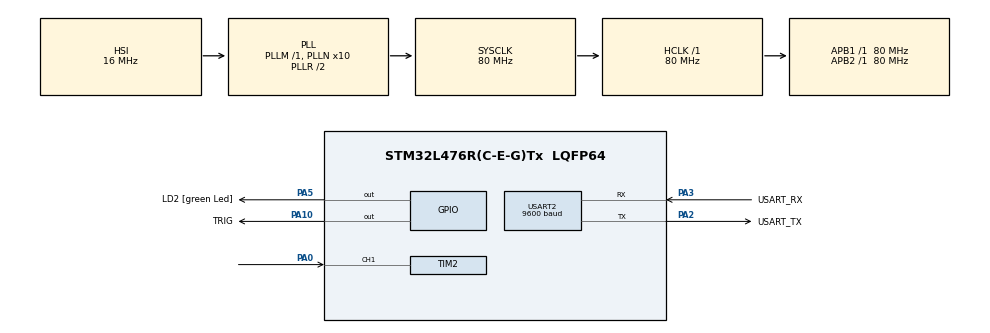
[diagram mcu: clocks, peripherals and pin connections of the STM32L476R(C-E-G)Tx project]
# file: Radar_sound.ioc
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Mcu.Family=STM32L4
Mcu.Name=STM32L476R(C-E-G)Tx
Mcu.Package=LQFP64
NVIC.PriorityGroup=NVIC_PRIORITYGROUP_4
NVIC.TIM2_IRQn=true\:0\:0\:false\:false\:true\:true\:true\:true
NVIC.USART2_IRQn=true\:0\:0\:false\:false\:true\:true\:true\:true
PA0.Signal=S_TIM2_CH1
PA10.GPIO_Label=TRIG
PA10.Signal=GPIO_Output
PA13\ (JTMS-SWDIO).GPIO_Label=TMS
PA13\ (JTMS-SWDIO).Signal=SYS_JTMS-SWDIO
PA14\ (JTCK-SWCLK).GPIO_Label=TCK
PA14\ (JTCK-SWCLK).Signal=SYS_JTCK-SWCLK
PA2.GPIO_Label=USART_TX
PA2.GPIO_Mode=GPIO_MODE_AF_PP
PA2.GPIO_PuPd=GPIO_NOPULL
PA2.GPIO_Speed=GPIO_SPEED_FREQ_VERY_HIGH
PA2.Mode=Asynchronous
PA2.Signal=USART2_TX
PA3.GPIO_Label=USART_RX
PA3.GPIO_Mode=GPIO_MODE_AF_PP
PA3.GPIO_PuPd=GPIO_NOPULL
PA3.GPIO_Speed=GPIO_SPEED_FREQ_VERY_HIGH
PA3.Mode=Asynchronous
PA3.Signal=USART2_RX
PA5.GPIO_Label=LD2 [green Led]
PA5.GPIO_ModeDefaultOutputPP=GPIO_MODE_OUTPUT_PP
PA5.GPIO_PuPd=GPIO_NOPULL
PA5.GPIO_Speed=GPIO_SPEED_FREQ_LOW
PA5.Signal=GPIO_Output
PA6.Signal=S_TIM3_CH1
PB3\ (JTDO-TRACESWO).GPIO_Label=SWO
PB3\ (JTDO-TRACESWO).Signal=SYS_JTDO-SWO
PC14-OSC32_IN\ (PC14).Signal=RCC_OSC32_IN
PC15-OSC32_OUT\ (PC15).Signal=RCC_OSC32_OUT
PH0-OSC_IN\ (PH0).Signal=RCC_OSC_IN
PH1-OSC_OUT\ (PH1).Signal=RCC_OSC_OUT
ProjectManager.HeapSize=0x200
ProjectManager.StackSize=0x400
ProjectManager.TargetToolchain=STM32CubeIDE
RCC.ADCFreq_Value=64000000
RCC.AHBFreq_Value=80000000
RCC.APB1Freq_Value=80000000
RCC.APB1TimFreq_Value=80000000
RCC.APB2Freq_Value=80000000
RCC.APB2TimFreq_Value=80000000
RCC.CortexFreq_Value=80000000
RCC.HCLKFreq_Value=80000000
RCC.HSE_VALUE=8000000
RCC.HSI_VALUE=16000000
RCC.LSE_VALUE=32768
RCC.MSI_VALUE=4000000
RCC.PLLN=10
RCC.PLLSourceVirtual=RCC_PLLSOURCE_HSI
RCC.PREFETCH_ENABLE=1
RCC.SYSCLKFreq_VALUE=80000000
RCC.SYSCLKSource=RCC_SYSCLKSOURCE_PLLCLK
RCC.USBFreq_Value=64000000
RCC.VCOOutputFreq_Value=160000000
SH.S_TIM2_CH1.0=TIM2_CH1,Input_Capture1_from_TI1
SH.S_TIM3_CH1.0=TIM3_CH1
TIM2.Channel-Input_Capture1_from_TI1=TIM_CHANNEL_1
TIM2.Prescaler=79
TIM3.Channel-PWM\ Generation1\ No\ Output=TIM_CHANNEL_1
TIM3.Period=999
TIM3.Prescaler=1599
USART2.BaudRate=9600
USART2.VirtualMode-Asynchronous=VM_ASYNC
VP_TIM3_VS_no_output1.Mode=PWM Generation1 No Output
board=NUCLEO-L476RG

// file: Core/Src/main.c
/* USER CODE BEGIN Header */
/**
  ******************************************************************************
  * @file           : main.c
  * @brief          : Main program body
  ******************************************************************************
  * @attention
  *
  * Copyright (c) 2026 STMicroelectronics.
  * All rights reserved.
  *
  * This software is licensed under terms that can be found in the LICENSE file
  * in the root directory of this software component.
  * If no LICENSE file comes with this software, it is provided AS-IS.
  *
  ******************************************************************************
  */
/* USER CODE END Header */
#include "main.h"

/* USER CODE BEGIN Includes */
#include <string.h> // library for C strings
#include <stdbool.h> // library for bool data type
#include <stdio.h> //library to convert float into strings
/* USER CODE END Includes */

/* USER CODE BEGIN PM */
#define UART_DELAY 100 // wait max of 100 ms between frames in message
#define MAX_MESSAGE_SIZE 100 // 100 characters maximum message size
/* USER CODE END PM */

TIM_HandleTypeDef htim2;
TIM_HandleTypeDef htim3;

UART_HandleTypeDef huart2;

/* USER CODE BEGIN PV */
uint32_t rise_time = 0; // time when the rising edge is detected
uint32_t fall_time = 0; // time when the falling edge is detected
uint8_t echo_trigger = 0;
float distance = 0; // distance measured in cm.

int current_angle = 0; // current position of motor
int target_angle = 0; // target position of motor

uint8_t response[MAX_MESSAGE_SIZE] = {0}; // char array to store response message
uint8_t uart2_byte; // byte received from UART2
uint8_t buffer_position = 0; // how many bytes received so far in message
bool blink = false; // LED blink status

/* USER CODE END PV */

void SystemClock_Config(void);
static void MX_GPIO_Init(void);
static void MX_USART2_UART_Init(void);
static void MX_TIM2_Init(void);
static void MX_TIM3_Init(void);
/* USER CODE BEGIN PFP */
void Set_Servo_Angle(int angle);
void delay_us(uint16_t us);
/* USER CODE END PFP */

/* USER CODE BEGIN 0 */
/**
  * @brief produce a delay running in microseconds
  * @param uint16_t us
  * @retval None
  */
void delay_us(uint16_t us) {
    __HAL_TIM_SET_COUNTER(&htim2, 0);
    while (__HAL_TIM_GET_COUNTER(&htim2) < us);
}
/* USER CODE END 0 */

int main(void)
{

  /* MCU Configuration--------------------------------------------------------*/

  /* Reset of all peripherals, Initializes the Flash interface and the Systick. */
  HAL_Init();

  /* Configure the system clock */
  SystemClock_Config();

  /* Initialize all configured peripherals */
  MX_GPIO_Init();
  MX_USART2_UART_Init();
  MX_TIM2_Init();
  MX_TIM3_Init();
  /* USER CODE BEGIN 2 */
  HAL_TIM_IC_Start_IT(&htim2, TIM_CHANNEL_1);
  Set_Servo_Angle(0);
  HAL_UART_Receive_IT(&huart2, &uart2_byte, 1); // put byte from UART2 in "uart2_byte"
  // Start PWM on Timer 3, Channel 1
  HAL_TIM_PWM_Start(&htim3, TIM_CHANNEL_1);
  /* USER CODE END 2 */

  /* Infinite loop */
  /* USER CODE BEGIN WHILE */
  while (1)
  {
	  target_angle = 180;
	  // sets the servo motor to start turning from 0 to 180
	  for(;current_angle <= target_angle; current_angle++){
		  Set_Servo_Angle(current_angle); // moves the motor the the incremented angle

		  // send a 10 microsecond trigger pulse
		  HAL_GPIO_WritePin(GPIOA, TRIG_Pin, GPIO_PIN_SET);
		  delay_us(10); // delay for 10 microseconds
		  HAL_GPIO_WritePin(GPIOA, TRIG_Pin, GPIO_PIN_RESET);

		  __HAL_TIM_ENABLE_IT(&htim2, TIM_IT_CC1); // enables TIM2 interrupt to trigger

		  // prepares the distance and angle to be transmitted
		  snprintf((char*)response, MAX_MESSAGE_SIZE, "Distance: %.2fcm Angle: %d \n\r", distance, current_angle);
		  HAL_UART_Transmit(&huart2, response, MAX_MESSAGE_SIZE, UART_DELAY); // transmits the data the the laptop

		  HAL_Delay(60); // wait before next measurement
	  }
	  target_angle = 0;
	  // sets the servo motor to start turning from 180 to 0
	  for (;current_angle >= target_angle; current_angle--){
		  Set_Servo_Angle(current_angle); // moves the motor the the incremented angle

		  /// send a 10 microsecond trigger pulse
		  HAL_GPIO_WritePin(GPIOA, TRIG_Pin, GPIO_PIN_SET);
		  delay_us(10); // delay for 10 microseconds
		  HAL_GPIO_WritePin(GPIOA, TRIG_Pin, GPIO_PIN_RESET);

		  __HAL_TIM_ENABLE_IT(&htim2, TIM_IT_CC1);// enables TIM2 interrupt to trigger

		  // prepares the distance and angle to be transmitted
		  snprintf((char*)response, MAX_MESSAGE_SIZE, "Distance: %.2fcm Angle: %d \n\r", distance, current_angle);
		  HAL_UART_Transmit(&huart2, response, MAX_MESSAGE_SIZE, UART_DELAY); // transmits the data the the laptop

		  HAL_Delay(60); // wait before next measurement
	  }
    /* USER CODE END WHILE */

  }
}

void SystemClock_Config(void)
{
  RCC_OscInitTypeDef RCC_OscInitStruct = {0};
  RCC_ClkInitTypeDef RCC_ClkInitStruct = {0};

  /** Configure the main internal regulator output voltage
  */
  if (HAL_PWREx_ControlVoltageScaling(PWR_REGULATOR_VOLTAGE_SCALE1) != HAL_OK)
  {
    Error_Handler();
  }

  /** Initializes the RCC Oscillators according to the specified parameters
  * in the RCC_OscInitTypeDef structure.
  */
  RCC_OscInitStruct.OscillatorType = RCC_OSCILLATORTYPE_HSI;
  RCC_OscInitStruct.HSIState = RCC_HSI_ON;
  RCC_OscInitStruct.HSICalibrationValue = RCC_HSICALIBRATION_DEFAULT;
  RCC_OscInitStruct.PLL.PLLState = RCC_PLL_ON;
  RCC_OscInitStruct.PLL.PLLSource = RCC_PLLSOURCE_HSI;
  RCC_OscInitStruct.PLL.PLLM = 1;
  RCC_OscInitStruct.PLL.PLLN = 10;
  RCC_OscInitStruct.PLL.PLLP = RCC_PLLP_DIV7;
  RCC_OscInitStruct.PLL.PLLQ = RCC_PLLQ_DIV2;
  RCC_OscInitStruct.PLL.PLLR = RCC_PLLR_DIV2;
  if (HAL_RCC_OscConfig(&RCC_OscInitStruct) != HAL_OK)
  {
    Error_Handler();
  }

  /** Initializes the CPU, AHB and APB buses clocks
  */
  RCC_ClkInitStruct.ClockType = RCC_CLOCKTYPE_HCLK|RCC_CLOCKTYPE_SYSCLK
                              |RCC_CLOCKTYPE_PCLK1|RCC_CLOCKTYPE_PCLK2;
  RCC_ClkInitStruct.SYSCLKSource = RCC_SYSCLKSOURCE_PLLCLK;
  RCC_ClkInitStruct.AHBCLKDivider = RCC_SYSCLK_DIV1;
  RCC_ClkInitStruct.APB1CLKDivider = RCC_HCLK_DIV1;
  RCC_ClkInitStruct.APB2CLKDivider = RCC_HCLK_DIV1;

  if (HAL_RCC_ClockConfig(&RCC_ClkInitStruct, FLASH_LATENCY_4) != HAL_OK)
  {
    Error_Handler();
  }
}

static void MX_TIM2_Init(void)
{

  TIM_MasterConfigTypeDef sMasterConfig = {0};
  TIM_IC_InitTypeDef sConfigIC = {0};

  htim2.Instance = TIM2;
  htim2.Init.Prescaler = 79;
  htim2.Init.CounterMode = TIM_COUNTERMODE_UP;
  htim2.Init.Period = 4294967295;
  htim2.Init.ClockDivision = TIM_CLOCKDIVISION_DIV1;
  htim2.Init.AutoReloadPreload = TIM_AUTORELOAD_PRELOAD_DISABLE;
  if (HAL_TIM_IC_Init(&htim2) != HAL_OK)
  {
    Error_Handler();
  }
  sMasterConfig.MasterOutputTrigger = TIM_TRGO_RESET;
  sMasterConfig.MasterSlaveMode = TIM_MASTERSLAVEMODE_DISABLE;
  if (HAL_TIMEx_MasterConfigSynchronization(&htim2, &sMasterConfig) != HAL_OK)
  {
    Error_Handler();
  }
  sConfigIC.ICPolarity = TIM_INPUTCHANNELPOLARITY_RISING;
  sConfigIC.ICSelection = TIM_ICSELECTION_DIRECTTI;
  sConfigIC.ICPrescaler = TIM_ICPSC_DIV1;
  sConfigIC.ICFilter = 0;
  if (HAL_TIM_IC_ConfigChannel(&htim2, &sConfigIC, TIM_CHANNEL_1) != HAL_OK)
  {
    Error_Handler();
  }

}

static void MX_TIM3_Init(void)
{

  TIM_MasterConfigTypeDef sMasterConfig = {0};
  TIM_OC_InitTypeDef sConfigOC = {0};

  htim3.Instance = TIM3;
  htim3.Init.Prescaler = 1599;
  htim3.Init.CounterMode = TIM_COUNTERMODE_UP;
  htim3.Init.Period = 999;
  htim3.Init.ClockDivision = TIM_CLOCKDIVISION_DIV1;
  htim3.Init.AutoReloadPreload = TIM_AUTORELOAD_PRELOAD_DISABLE;
  if (HAL_TIM_PWM_Init(&htim3) != HAL_OK)
  {
    Error_Handler();
  }
  sMasterConfig.MasterOutputTrigger = TIM_TRGO_RESET;
  sMasterConfig.MasterSlaveMode = TIM_MASTERSLAVEMODE_DISABLE;
  if (HAL_TIMEx_MasterConfigSynchronization(&htim3, &sMasterConfig) != HAL_OK)
  {
    Error_Handler();
  }
  sConfigOC.OCMode = TIM_OCMODE_PWM1;
  sConfigOC.Pulse = 0;
  sConfigOC.OCPolarity = TIM_OCPOLARITY_HIGH;
  sConfigOC.OCFastMode = TIM_OCFAST_DISABLE;
  if (HAL_TIM_PWM_ConfigChannel(&htim3, &sConfigOC, TIM_CHANNEL_1) != HAL_OK)
  {
    Error_Handler();
  }

}

static void MX_USART2_UART_Init(void)
{

  huart2.Instance = USART2;
  huart2.Init.BaudRate = 9600;
  huart2.Init.WordLength = UART_WORDLENGTH_8B;
  huart2.Init.StopBits = UART_STOPBITS_1;
  huart2.Init.Parity = UART_PARITY_NONE;
  huart2.Init.Mode = UART_MODE_TX_RX;
  huart2.Init.HwFlowCtl = UART_HWCONTROL_NONE;
  huart2.Init.OverSampling = UART_OVERSAMPLING_16;
  huart2.Init.OneBitSampling = UART_ONE_BIT_SAMPLE_DISABLE;
  huart2.AdvancedInit.AdvFeatureInit = UART_ADVFEATURE_NO_INIT;
  if (HAL_UART_Init(&huart2) != HAL_OK)
  {
    Error_Handler();
  }

}

static void MX_GPIO_Init(void)
{
  GPIO_InitTypeDef GPIO_InitStruct = {0};

  /* GPIO Ports Clock Enable */
  __HAL_RCC_GPIOC_CLK_ENABLE();
  __HAL_RCC_GPIOH_CLK_ENABLE();
  __HAL_RCC_GPIOA_CLK_ENABLE();
  __HAL_RCC_GPIOB_CLK_ENABLE();

  /*Configure GPIO pin Output Level */
  HAL_GPIO_WritePin(GPIOA, LD2_Pin|TRIG_Pin, GPIO_PIN_RESET);

  /*Configure GPIO pins : LD2_Pin TRIG_Pin */
  GPIO_InitStruct.Pin = LD2_Pin|TRIG_Pin;
  GPIO_InitStruct.Mode = GPIO_MODE_OUTPUT_PP;
  GPIO_InitStruct.Pull = GPIO_NOPULL;
  GPIO_InitStruct.Speed = GPIO_SPEED_FREQ_LOW;
  HAL_GPIO_Init(GPIOA, &GPIO_InitStruct);

}

/* USER CODE BEGIN 4 */
void HAL_TIM_IC_CaptureCallback(TIM_HandleTypeDef *htim)
{
	// check for the correct time trigger.
    if (htim->Instance == TIM2){

    	// collects the time stamp for the rising edge
        if (echo_trigger == 0){

            rise_time = HAL_TIM_ReadCapturedValue(htim, TIM_CHANNEL_1);
            echo_trigger = 1;

            // sets the TIM interrupt to trigger on falling edge
            __HAL_TIM_SET_CAPTUREPOLARITY(htim, TIM_CHANNEL_1, TIM_INPUTCHANNELPOLARITY_FALLING);
        }

        // collects the time stamp for the falling edge
        else if (echo_trigger == 1){

            fall_time = HAL_TIM_ReadCapturedValue(htim, TIM_CHANNEL_1);
            __HAL_TIM_SET_COUNTER(htim, 0);

            // finds the total time the echo pin was high that calculates the distance in cm
            distance = (float)(fall_time - rise_time) * 0.0343 / 2.0;

            echo_trigger = 0; // Reset flag for next measurement

            // sets the TIM interrupt to trigger on rising edge
            __HAL_TIM_SET_CAPTUREPOLARITY(htim, TIM_CHANNEL_1, TIM_INPUTCHANNELPOLARITY_RISING);

            // disable the interrupt
            __HAL_TIM_DISABLE_IT(htim, TIM_IT_CC1);
        }
    }
}

/**
  * @brief Converts angle into the corresponding pulse
  * @param int angle
  * @retval None
  */
void Set_Servo_Angle(int angle)
{
    uint32_t pulse = 50 + ((int)angle * 50 / 180); // calculate the appropriate pulse
    __HAL_TIM_SET_COMPARE(&htim3, TIM_CHANNEL_1, pulse); // transmits the pulse
}
/* USER CODE END 4 */

void Error_Handler(void)
{
  __disable_irq();
  while (1)
  {
  }
}
